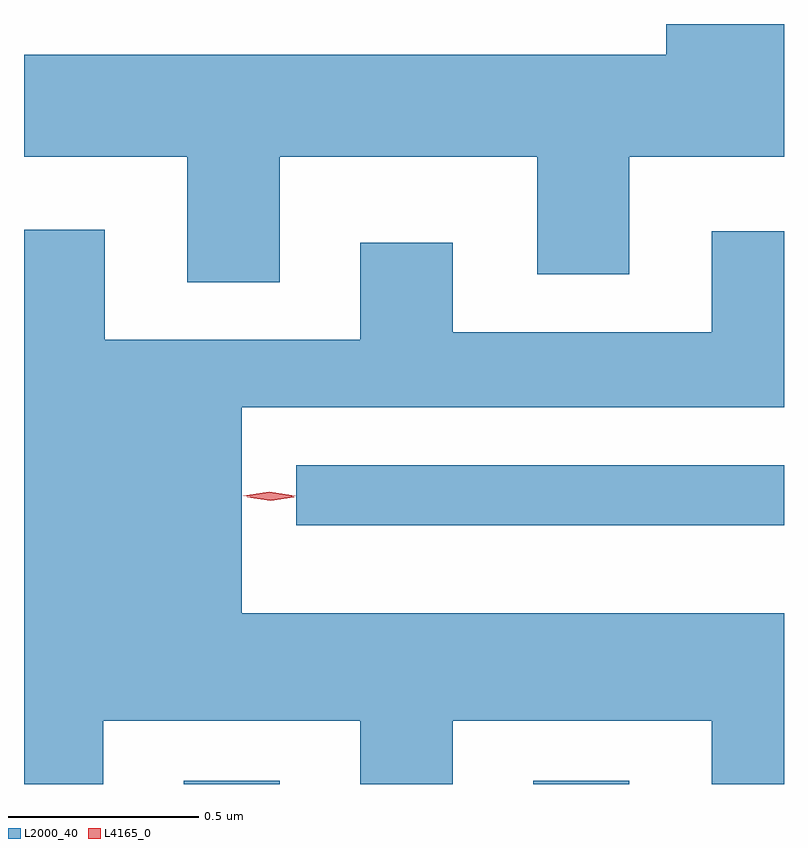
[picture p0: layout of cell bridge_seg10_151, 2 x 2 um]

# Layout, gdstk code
import gdstk
lib = gdstk.Library(unit=1e-6, precision=1e-09)
def R(c, l, rs):  # rectangles x0, y0, x1, y1
    for r in rs: c.add(gdstk.rectangle(r[:2], r[2:], *l))
def P(c, l, *ps):  # polygons
    for p in ps: c.add(gdstk.Polygon(p, *l))
L2000_40 = (2000, 40)
L4165_0 = (4165, 0)

bridge_seg10_151 = lib.new_cell('bridge_seg10_151')
R(bridge_seg10_151, L2000_40, [(1491.246,2114.485,1491.499,2114.494), (1492.166,2114.485,1492.419,2114.494), (1491.543,2115.166,1492.826,2115.324)])
P(bridge_seg10_151, L2000_40, [(1491.499,2116.136),(1492.176,2116.136),(1492.176,2115.826),(1492.419,2115.826),(1492.419,2116.136),(1492.826,2116.136),(1492.826,2116.485),(1492.516,2116.485),(1492.516,2116.404),(1490.826,2116.404),(1490.826,2116.136),(1491.256,2116.136),(1491.256,2115.806),(1491.499,2115.806)],
  [(1491.034,2114.651),(1491.711,2114.651),(1491.711,2114.485),(1491.954,2114.485),(1491.954,2114.651),(1492.636,2114.651),(1492.636,2114.485),(1492.826,2114.485),(1492.826,2114.934),(1491.399,2114.934),(1491.399,2115.476),(1492.826,2115.476),(1492.826,2115.939),(1492.636,2115.939),(1492.636,2115.674),(1491.954,2115.674),(1491.954,2115.909),(1491.711,2115.909),(1491.711,2115.654),(1491.039,2115.654),(1491.039,2115.944),(1490.826,2115.944),(1490.826,2114.485),(1491.034,2114.485)])
P(bridge_seg10_151, L4165_0, [(1491.472,2115.234),(1491.403,2115.244),(1491.402,2115.244),(1491.403,2115.244),(1491.472,2115.254),(1491.54,2115.244),(1491.54,2115.244),(1491.54,2115.244)],
  [(1491.475,2115.23),(1491.413,2115.239),(1491.412,2115.24),(1491.413,2115.24),(1491.475,2115.25),(1491.536,2115.241),(1491.537,2115.24),(1491.536,2115.24)])

lib.write_gds('bridge_seg10_151.gds')
